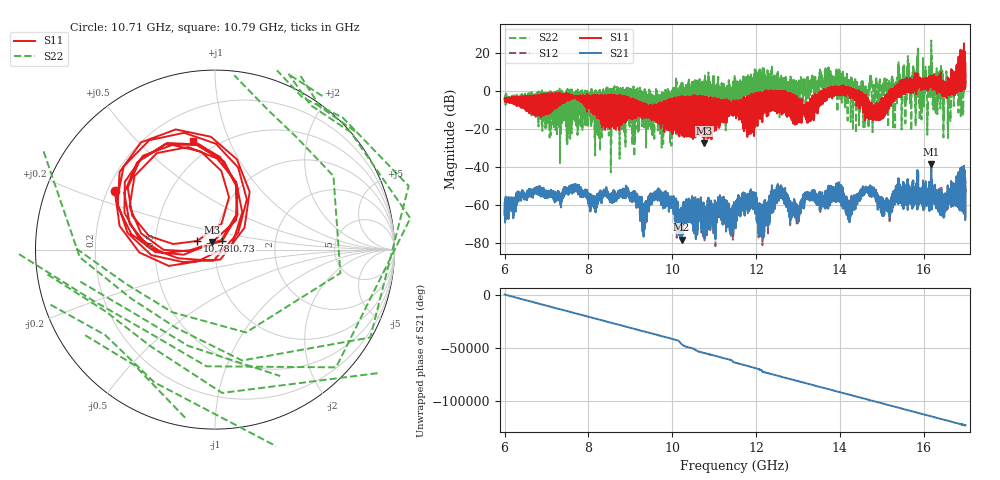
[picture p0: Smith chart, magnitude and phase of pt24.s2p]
#  HZ  S  RI  R  50.00
! Rohde & Schwarz Vector Network Analyzer
! Rohde-Schwarz,ZNA67-2Port,1332450062101215,3.01
! Created: UTC 10/27/2026, 1:21:49 PM
! freq[Hz]  re:S11  im:S11  re:S21  im:S21  re:S12  im:S12  re:S22  im:S22
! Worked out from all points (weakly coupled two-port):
!   11001 points, 6 GHz to 17 GHz, reference 50 ohm
!   highest |S21| = -38.46 dB at 16.18 GHz (marker M1); lowest = -78.0 dB at 10.22 GHz (marker M2)
!   lowest |S11| = -27.3 dB at 10.76 GHz (marker M3), VSWR 1.09, Z = 48.3 + j3.87 ohm
!   |S11| at or under -10 dB: 14.76193 GHz to 14.76832 GHz (6.389 MHz wide, 0.0433 % of centre); 14.77274 GHz to 14.78018 GHz (7.437 MHz wide, 0.0503 % of centre); 14.84665 GHz to 14.85727 GHz (10.62 MHz wide, 0.0715 % of centre) (the widest 3 of 548)
!   |S22| runs from -42.7 to 26.5 dB; largest |S21 - S12| = 0.0029
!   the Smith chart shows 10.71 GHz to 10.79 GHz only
!   S11 on the Smith chart (normalised r, x): 10.71 GHz: 0.23, +0.26; 10.73 GHz: 1.08, +0.10; 10.78 GHz: 0.82, +0.08; 10.79 GHz: 0.38, +0.74
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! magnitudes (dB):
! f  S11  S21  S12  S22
! 6 GHz  -4.5  -65.2  -64.9  -4.4
! 7.834 GHz  -3.8  -55.4  -55.5  -14.7
! 8.915 GHz  -4.0  -53.9  -54.0  1.2
! 9.343 GHz  -7.8  -63.6  -64.2  -1.9
! 9.667 GHz  -7.3  -54.5  -54.4  -7.0
! 10.22 GHz  -2.7  -78.0  -75.5  2.2
! 10.71 GHz  -3.8  -61.5  -60.4  4.9
! 10.73 GHz  -24.1  -64.2  -64.4  -3.8
! 10.76 GHz  -27.3  -62.6  -63.4  -5.1
! 10.78 GHz  -19.1  -70.9  -74.7  -2.1
! 10.79 GHz  -4.2  -67.0  -66.1  1.6
! 11.5 GHz  -6.7  -64.5  -64.0  2.1
! 11.92 GHz  -14.5  -55.0  -55.0  0.4
! 12.13 GHz  -2.3  -64.9  -64.9  3.0
! 12.56 GHz  -1.5  -53.1  -53.5  -9.4
! 12.99 GHz  -10.6  -61.9  -62.4  -2.1
! 13.33 GHz  -8.6  -53.3  -54.0  4.1
! 14.24 GHz  -3.8  -59.5  -60.2  3.9
! 14.66 GHz  -13.5  -51.2  -51.6  -6.8
! 15.17 GHz  -2.6  -60.9  -61.3  -0.4
! 16.18 GHz  2.5  -38.5  -38.2  26.5
! 17 GHz  14.8  -46.1  -47.1  5.9
